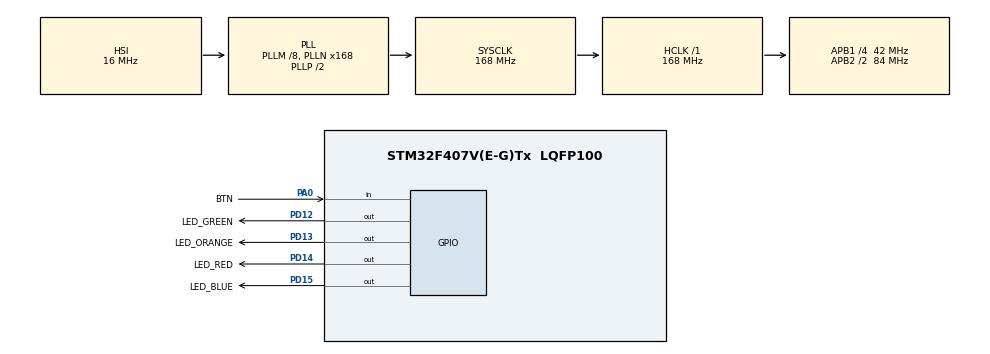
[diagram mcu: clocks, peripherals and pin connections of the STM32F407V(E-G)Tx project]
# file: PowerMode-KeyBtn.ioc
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Mcu.Family=STM32F4
Mcu.Name=STM32F407V(E-G)Tx
Mcu.Package=LQFP100
NVIC.PriorityGroup=NVIC_PRIORITYGROUP_0
NVIC.TIM6_DAC_IRQn=true\:0\:0\:false\:false\:true\:true\:true
PA0-WKUP.GPIO_Label=BTN
PA0-WKUP.Signal=GPIO_Input
PD12.GPIO_Label=LED_GREEN
PD12.Signal=GPIO_Output
PD13.GPIO_Label=LED_ORANGE
PD13.Signal=GPIO_Output
PD14.GPIO_Label=LED_RED
PD14.Signal=GPIO_Output
PD15.GPIO_Label=LED_BLUE
PD15.Signal=GPIO_Output
ProjectManager.HeapSize=0x200
ProjectManager.StackSize=0x400
ProjectManager.TargetToolchain=MDK-ARM V5.27
RCC.48MHZClocksFreq_Value=48000000
RCC.AHBFreq_Value=168000000
RCC.APB1CLKDivider=RCC_HCLK_DIV4
RCC.APB1Freq_Value=42000000
RCC.APB1TimFreq_Value=84000000
RCC.APB2CLKDivider=RCC_HCLK_DIV2
RCC.APB2Freq_Value=84000000
RCC.APB2TimFreq_Value=168000000
RCC.CortexFreq_Value=168000000
RCC.HCLKFreq_Value=168000000
RCC.HSE_VALUE=8000000
RCC.HSI_VALUE=16000000
RCC.PLLM=8
RCC.PLLN=168
RCC.PLLQ=7
RCC.SYSCLKFreq_VALUE=168000000
RCC.SYSCLKSource=RCC_SYSCLKSOURCE_PLLCLK
RCC.VCOOutputFreq_Value=336000000
TIM6.Period=500-1
TIM6.Prescaler=8400-1
VP_TIM6_VS_ClockSourceINT.Mode=Enable_Timer
board=STM32F407G-DISC1

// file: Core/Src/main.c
/* USER CODE BEGIN Header */
/**
  ******************************************************************************
  * @file           : main.c
  * @brief          : Main program body
  ******************************************************************************
  * @attention
  *
  * <h2><center>&copy; Copyright (c) 2023 STMicroelectronics.
  * All rights reserved.</center></h2>
  *
  * This software component is licensed by ST under BSD 3-Clause license,
  * the "License"; You may not use this file except in compliance with the
  * License. You may obtain a copy of the License at:
  *                        opensource.org/licenses/BSD-3-Clause
  *
  ******************************************************************************
  */
/* USER CODE END Header */
#include "main.h"
#include "tim.h"
#include "gpio.h"

/* USER CODE BEGIN Includes */
#include "Key.h"
/* USER CODE END Includes */

/* USER CODE BEGIN PD */
#define ENABLE_SLEEP_MODE           1
/* USER CODE END PD */

/* USER CODE BEGIN PV */
static const Key_PinConfig KEY_BTN_CONFIG = {
  BTN_GPIO_Port, BTN_Pin
};

static Key keyBtn;

/* USER CODE END PV */

void SystemClock_Config(void);
/* USER CODE BEGIN PFP */
uint8_t Key_readPin(const Key_PinConfig* config);

Key_HandleStatus KeyBtn_onPressed(Key* key, Key_State state);
/* USER CODE END PFP */

/* USER CODE BEGIN 0 */
static const Key_Driver KEY_DRIVER = {
  Key_readPin,
#if KEY_USE_INIT
  NULL,
#endif
#if KEY_USE_DEINIT
  NULL,
#endif
};
/* USER CODE END 0 */

int main(void)
{

  /* MCU Configuration--------------------------------------------------------*/

  /* Reset of all peripherals, Initializes the Flash interface and the Systick. */
  HAL_Init();

  /* Configure the system clock */
  SystemClock_Config();

  /* Initialize all configured peripherals */
  MX_GPIO_Init();
  MX_TIM6_Init();
  /* USER CODE BEGIN 2 */
  Key_init(&KEY_DRIVER);
  Key_add(&keyBtn, &KEY_BTN_CONFIG);
  Key_onPressed(&keyBtn, KeyBtn_onPressed);

  HAL_TIM_Base_Start_IT(&htim6);
  /* USER CODE END 2 */

  /* Infinite loop */
  /* USER CODE BEGIN WHILE */
#if ENABLE_SLEEP_MODE
  HAL_PWR_EnableSleepOnExit();
  HAL_PWR_EnterSLEEPMode(PWR_LOWPOWERREGULATOR_ON, PWR_SLEEPENTRY_WFI);
#endif
  while (1)
  {
    /* USER CODE END WHILE */

  }
}

void SystemClock_Config(void)
{
  RCC_OscInitTypeDef RCC_OscInitStruct = {0};
  RCC_ClkInitTypeDef RCC_ClkInitStruct = {0};

  /** Configure the main internal regulator output voltage
  */
  __HAL_RCC_PWR_CLK_ENABLE();
  __HAL_PWR_VOLTAGESCALING_CONFIG(PWR_REGULATOR_VOLTAGE_SCALE1);
  /** Initializes the RCC Oscillators according to the specified parameters
  * in the RCC_OscInitTypeDef structure.
  */
  RCC_OscInitStruct.OscillatorType = RCC_OSCILLATORTYPE_HSI;
  RCC_OscInitStruct.HSIState = RCC_HSI_ON;
  RCC_OscInitStruct.HSICalibrationValue = RCC_HSICALIBRATION_DEFAULT;
  RCC_OscInitStruct.PLL.PLLState = RCC_PLL_ON;
  RCC_OscInitStruct.PLL.PLLSource = RCC_PLLSOURCE_HSI;
  RCC_OscInitStruct.PLL.PLLM = 8;
  RCC_OscInitStruct.PLL.PLLN = 168;
  RCC_OscInitStruct.PLL.PLLP = RCC_PLLP_DIV2;
  RCC_OscInitStruct.PLL.PLLQ = 7;
  if (HAL_RCC_OscConfig(&RCC_OscInitStruct) != HAL_OK)
  {
    Error_Handler();
  }
  /** Initializes the CPU, AHB and APB buses clocks
  */
  RCC_ClkInitStruct.ClockType = RCC_CLOCKTYPE_HCLK|RCC_CLOCKTYPE_SYSCLK
                              |RCC_CLOCKTYPE_PCLK1|RCC_CLOCKTYPE_PCLK2;
  RCC_ClkInitStruct.SYSCLKSource = RCC_SYSCLKSOURCE_PLLCLK;
  RCC_ClkInitStruct.AHBCLKDivider = RCC_SYSCLK_DIV1;
  RCC_ClkInitStruct.APB1CLKDivider = RCC_HCLK_DIV4;
  RCC_ClkInitStruct.APB2CLKDivider = RCC_HCLK_DIV2;

  if (HAL_RCC_ClockConfig(&RCC_ClkInitStruct, FLASH_LATENCY_5) != HAL_OK)
  {
    Error_Handler();
  }
}

/* USER CODE BEGIN 4 */
uint8_t Key_readPin(const Key_PinConfig* config) {
  return HAL_GPIO_ReadPin(config->IO, config->Pin);
}

Key_HandleStatus KeyBtn_onPressed(Key* key, Key_State state) {
  HAL_GPIO_TogglePin(LED_BLUE_GPIO_Port, LED_BLUE_Pin);
  return Key_Handled;
}

void HAL_TIM_PeriodElapsedCallback(TIM_HandleTypeDef* htim) {
  Key_handle();
}

/* USER CODE END 4 */

void Error_Handler(void)
{
  __disable_irq();
  while (1)
  {
  }
}

/************************ (C) COPYRIGHT STMicroelectronics *****END OF FILE****/
